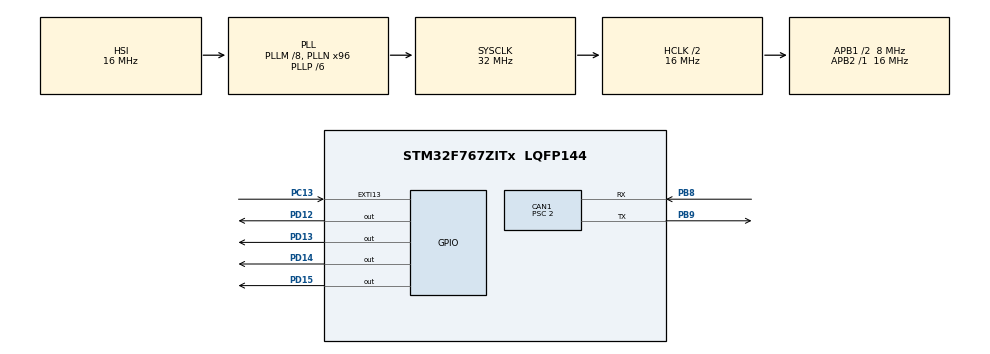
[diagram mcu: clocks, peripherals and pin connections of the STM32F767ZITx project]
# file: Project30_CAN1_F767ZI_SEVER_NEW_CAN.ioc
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CAN1.BS1=CAN_BS1_13TQ
CAN1.BS2=CAN_BS2_2TQ
CAN1.CalculateTimeQuantum=250.0
CAN1.Prescaler=2
Mcu.Family=STM32F7
Mcu.Name=STM32F767ZITx
Mcu.Package=LQFP144
NVIC.CAN1_RX0_IRQn=true\:2\:0\:true\:false\:true\:true\:true
NVIC.EXTI15_10_IRQn=true\:1\:0\:true\:false\:true\:true\:true
NVIC.PriorityGroup=NVIC_PRIORITYGROUP_4
PB8.Mode=Master
PB8.Signal=CAN1_RX
PB9.Mode=Master
PB9.Signal=CAN1_TX
PC13.Signal=GPXTI13
PD12.Signal=GPIO_Output
PD13.Signal=GPIO_Output
PD14.Signal=GPIO_Output
PD15.Signal=GPIO_Output
PH0/OSC_IN.Mode=HSE-External-Oscillator
PH0/OSC_IN.Signal=RCC_OSC_IN
PH1/OSC_OUT.Mode=HSE-External-Oscillator
PH1/OSC_OUT.Signal=RCC_OSC_OUT
ProjectManager.HeapSize=0x200
ProjectManager.StackSize=0x400
ProjectManager.TargetToolchain=EWARM V8
RCC.48MHZClocksFreq_Value=24000000
RCC.AHBCLKDivider=RCC_SYSCLK_DIV2
RCC.AHBFreq_Value=16000000
RCC.APB1CLKDivider=RCC_HCLK_DIV2
RCC.APB1Freq_Value=8000000
RCC.APB1TimFreq_Value=16000000
RCC.APB2Freq_Value=16000000
RCC.APB2TimFreq_Value=16000000
RCC.CortexFreq_Value=16000000
RCC.HCLKFreq_Value=16000000
RCC.HSE_VALUE=16000000
RCC.HSI_VALUE=16000000
RCC.LSE_VALUE=32768
RCC.PLLM=8
RCC.PLLMUL=RCC_PLL_MUL9
RCC.PLLN=96
RCC.PLLP=RCC_PLLP_DIV6
RCC.PRESCALERUSB=RCC_USBCLKSOURCE_PLL_DIV1_5
RCC.SYSCLKFreq_VALUE=32000000
RCC.SYSCLKSource=RCC_SYSCLKSOURCE_PLLCLK
RCC.SYSCLKSourceVirtual=RCC_SYSCLKSOURCE_PLLCLK
RCC.USBFreq_Value=96000000
RCC.VCOOutputFreq_Value=192000000
board=NUCLEO-F767ZI

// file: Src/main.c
/* USER CODE BEGIN Header */
/**
  ******************************************************************************
  * @file           : main.c
  * @brief          : Main program body
  ******************************************************************************
  * @attention
  *
  * <h2><center>&copy; Copyright (c) 2021 STMicroelectronics.
  * All rights reserved.</center></h2>
  *
  * This software component is licensed by ST under BSD 3-Clause license,
  * the "License"; You may not use this file except in compliance with the
  * License. You may obtain a copy of the License at:
  *                        opensource.org/licenses/BSD-3-Clause
  *
  ******************************************************************************
  */
/* USER CODE END Header */

#include "main.h"

CAN_HandleTypeDef hcan1;

/* USER CODE BEGIN PV */
CAN_HandleTypeDef hcan1;
CAN_TxHeaderTypeDef pTxHeader;
CAN_RxHeaderTypeDef pRxHeader;
uint32_t pTxMailbox;
uint8_t a;
uint8_t r;
CAN_FilterTypeDef sFilterConfig;
/* USER CODE END PV */

void SystemClock_Config(void);
static void MX_GPIO_Init(void);
static void MX_CAN1_Init(void);

int main(void)
{

  /* MCU Configuration--------------------------------------------------------*/

  /* Reset of all peripherals, Initializes the Flash interface and the Systick. */
  HAL_Init();

  /* Configure the system clock */
  SystemClock_Config();

  /* Initialize all configured peripherals */
  MX_GPIO_Init();
  MX_CAN1_Init();
  /* USER CODE BEGIN 2 */

pTxHeader.DLC = 1;
pTxHeader.IDE = CAN_ID_STD;
pTxHeader.RTR = CAN_RTR_DATA;
pTxHeader.StdId = 0x244;

sFilterConfig.FilterFIFOAssignment = CAN_FILTER_FIFO0;
sFilterConfig.FilterIdHigh = 0;
sFilterConfig.FilterIdLow = 0;
sFilterConfig.FilterMaskIdHigh = 0;
sFilterConfig.FilterIdLow = 0;
sFilterConfig.FilterScale = CAN_FILTERSCALE_32BIT;
sFilterConfig.FilterActivation = ENABLE;

HAL_CAN_ConfigFilter(&hcan1, &sFilterConfig);

HAL_CAN_Start(&hcan1);
HAL_CAN_ActivateNotification(&hcan1, CAN_IT_RX_FIFO0_MSG_PENDING);
  /* USER CODE END 2 */

  /* Infinite loop */
  while (1)
  {

  }
}

void SystemClock_Config(void)
{
  RCC_OscInitTypeDef RCC_OscInitStruct = {0};
  RCC_ClkInitTypeDef RCC_ClkInitStruct = {0};

  /** Configure the main internal regulator output voltage
  */
  __HAL_RCC_PWR_CLK_ENABLE();
  __HAL_PWR_VOLTAGESCALING_CONFIG(PWR_REGULATOR_VOLTAGE_SCALE3);
  /** Initializes the CPU, AHB and APB busses clocks
  */
  RCC_OscInitStruct.OscillatorType = RCC_OSCILLATORTYPE_HSI;
  RCC_OscInitStruct.HSIState = RCC_HSI_ON;
  RCC_OscInitStruct.HSICalibrationValue = RCC_HSICALIBRATION_DEFAULT;
  RCC_OscInitStruct.PLL.PLLState = RCC_PLL_ON;
  RCC_OscInitStruct.PLL.PLLSource = RCC_PLLSOURCE_HSI;
  RCC_OscInitStruct.PLL.PLLM = 8;
  RCC_OscInitStruct.PLL.PLLN = 96;
  RCC_OscInitStruct.PLL.PLLP = RCC_PLLP_DIV6;
  RCC_OscInitStruct.PLL.PLLQ = 2;
  if (HAL_RCC_OscConfig(&RCC_OscInitStruct) != HAL_OK)
  {
    Error_Handler();
  }
  /** Initializes the CPU, AHB and APB busses clocks
  */
  RCC_ClkInitStruct.ClockType = RCC_CLOCKTYPE_HCLK|RCC_CLOCKTYPE_SYSCLK
                              |RCC_CLOCKTYPE_PCLK1|RCC_CLOCKTYPE_PCLK2;
  RCC_ClkInitStruct.SYSCLKSource = RCC_SYSCLKSOURCE_PLLCLK;
  RCC_ClkInitStruct.AHBCLKDivider = RCC_SYSCLK_DIV2;
  RCC_ClkInitStruct.APB1CLKDivider = RCC_HCLK_DIV2;
  RCC_ClkInitStruct.APB2CLKDivider = RCC_HCLK_DIV1;

  if (HAL_RCC_ClockConfig(&RCC_ClkInitStruct, FLASH_LATENCY_0) != HAL_OK)
  {
    Error_Handler();
  }
}

static void MX_CAN1_Init(void)
{

  hcan1.Instance = CAN1;
  hcan1.Init.Prescaler = 2;
  hcan1.Init.Mode = CAN_MODE_NORMAL;
  hcan1.Init.SyncJumpWidth = CAN_SJW_1TQ;
  hcan1.Init.TimeSeg1 = CAN_BS1_13TQ;
  hcan1.Init.TimeSeg2 = CAN_BS2_2TQ;
  hcan1.Init.TimeTriggeredMode = DISABLE;
  hcan1.Init.AutoBusOff = DISABLE;
  hcan1.Init.AutoWakeUp = DISABLE;
  hcan1.Init.AutoRetransmission = DISABLE;
  hcan1.Init.ReceiveFifoLocked = DISABLE;
  hcan1.Init.TransmitFifoPriority = DISABLE;
  if (HAL_CAN_Init(&hcan1) != HAL_OK)
  {
    Error_Handler();
  }

}

static void MX_GPIO_Init(void)
{
  GPIO_InitTypeDef GPIO_InitStruct = {0};

  /* GPIO Ports Clock Enable */
  __HAL_RCC_GPIOC_CLK_ENABLE();
  __HAL_RCC_GPIOH_CLK_ENABLE();
  __HAL_RCC_GPIOD_CLK_ENABLE();
  __HAL_RCC_GPIOB_CLK_ENABLE();

  /*Configure GPIO pin Output Level */
  HAL_GPIO_WritePin(GPIOD, GPIO_PIN_12|GPIO_PIN_13|GPIO_PIN_14|GPIO_PIN_15, GPIO_PIN_RESET);

  /*Configure GPIO pin : PC13 */
  GPIO_InitStruct.Pin = GPIO_PIN_13;
  GPIO_InitStruct.Mode = GPIO_MODE_IT_RISING;
  GPIO_InitStruct.Pull = GPIO_NOPULL;
  HAL_GPIO_Init(GPIOC, &GPIO_InitStruct);

  /*Configure GPIO pins : PD12 PD13 PD14 PD15 */
  GPIO_InitStruct.Pin = GPIO_PIN_12|GPIO_PIN_13|GPIO_PIN_14|GPIO_PIN_15;
  GPIO_InitStruct.Mode = GPIO_MODE_OUTPUT_PP;
  GPIO_InitStruct.Pull = GPIO_NOPULL;
  GPIO_InitStruct.Speed = GPIO_SPEED_FREQ_LOW;
  HAL_GPIO_Init(GPIOD, &GPIO_InitStruct);

  /* EXTI interrupt init*/
  HAL_NVIC_SetPriority(EXTI15_10_IRQn, 1, 0);
  HAL_NVIC_EnableIRQ(EXTI15_10_IRQn);

}

void Error_Handler(void)
{
}

/************************ (C) COPYRIGHT STMicroelectronics *****END OF FILE****/
